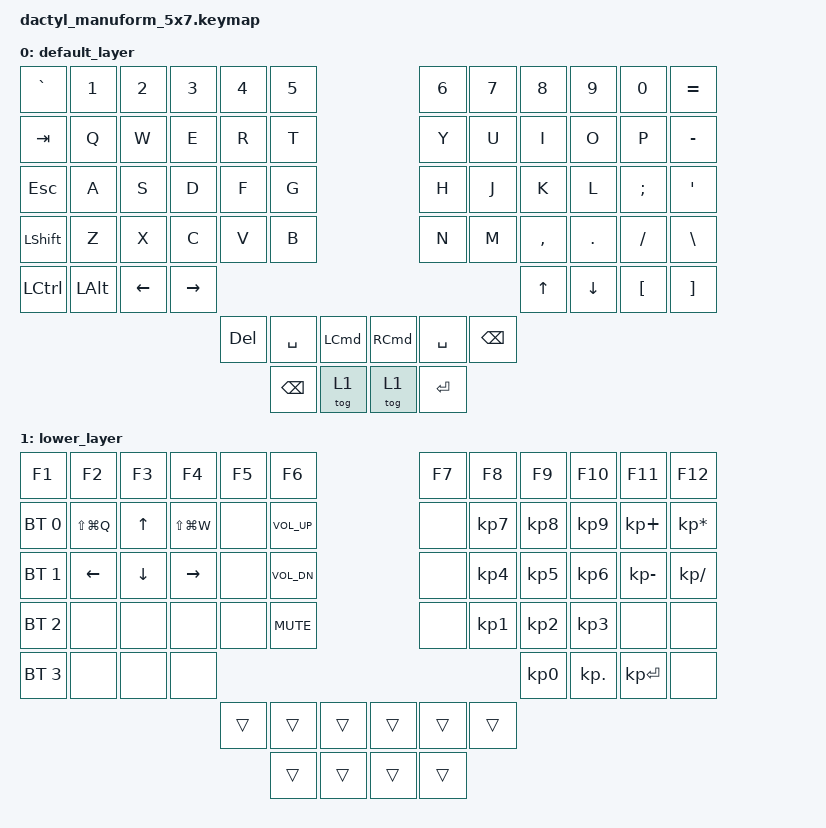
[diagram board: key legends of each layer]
#include <behaviors.dtsi>
#include <dt-bindings/zmk/keys.h>
#include <dt-bindings/zmk/bt.h>
#include <dt-bindings/zmk/outputs.h>

#define DEFAULT 0
#define L1 1

/ {
    keymap {
        compatible = "zmk,keymap";

        default_layer {
            bindings = <
                &kp GRAVE  &kp N1    &kp N2   &kp N3    &kp N4  &kp N5                         &kp N6   &kp N7 &kp N8    &kp N9   &kp N0   &kp EQUAL
                &kp TAB    &kp Q     &kp W    &kp E     &kp R   &kp T                          &kp Y    &kp U  &kp I     &kp O    &kp P    &kp MINUS
                &kp ESC    &kp A     &kp S    &kp D     &kp F   &kp G                          &kp H    &kp J  &kp K     &kp L    &kp SEMI &kp SQT
                &kp LSHIFT &kp Z     &kp X    &kp C     &kp V   &kp B                          &kp N    &kp M  &kp COMMA &kp DOT  &kp FSLH &kp BSLH
                &kp LCTRL  &kp LALT  &kp LEFT &kp RIGHT                                                        &kp UP    &kp DOWN &kp LBKT &kp RBKT
                                                        &kp DEL &kp SPACE &kp LCMD    &kp RCMD &kp SPACE &kp BSPC
                                                                &kp BSPC  &tog 1      &tog 1   &kp RET
            >;
        };

        lower_layer {
            bindings = <
                &kp F1       &kp F2        &kp F3      &kp F4        &kp F5 &kp F6                                                            &kp F7 &kp F8    &kp F9    &kp F10    &kp F11      &kp F12
                &bt BT_SEL 0 &kp LS(LG(Q)) &kp UP      &kp LS(LG(W)) &none  &kp K_VOL_UP                                                      &none  &kp KP_N7 &kp KP_N8 &kp KP_N9  &kp KP_PLUS  &kp KP_MULTIPLY
                &bt BT_SEL 1 &kp LEFT      &kp DOWN    &kp RIGHT     &none  &kp K_VOL_DN                                                      &none  &kp KP_N4 &kp KP_N5 &kp KP_N6  &kp KP_MINUS &kp KP_DIVIDE
                &bt BT_SEL 2 &none         &none       &none         &none  &kp K_MUTE                                                        &none  &kp KP_N1 &kp KP_N2 &kp KP_N3  &none        &none
                &bt BT_SEL 3 &none         &none       &none                                                                                                      &kp KP_N0 &kp KP_DOT &kp KP_ENTER &none
                                                                     &trans &trans        &trans                                       &trans &trans &trans
                                                                            &trans        &trans                                       &trans &trans
            >;
        };
    };
};
